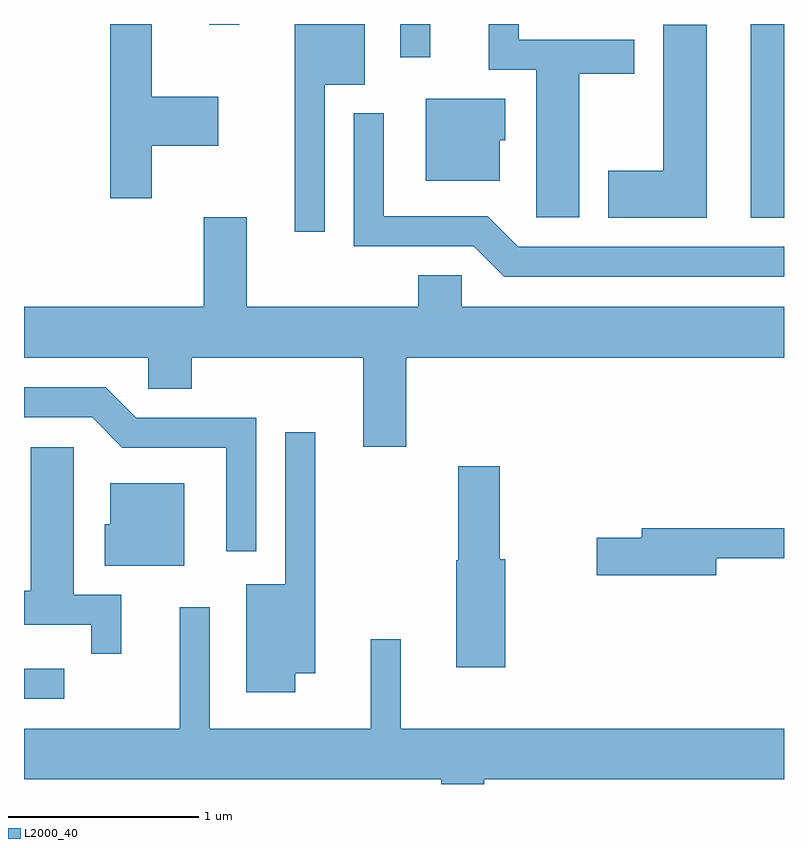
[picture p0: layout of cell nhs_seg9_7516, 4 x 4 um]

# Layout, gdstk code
import gdstk
lib = gdstk.Library(unit=1e-6, precision=1e-09)
def R(c, l, rs):  # rectangles x0, y0, x1, y1
    for r in rs: c.add(gdstk.rectangle(r[:2], r[2:], *l))
def P(c, l, *ps):  # polygons
    for p in ps: c.add(gdstk.Polygon(p, *l))
L2000_40 = (2000, 40)

nhs_seg9_7516 = lib.new_cell('nhs_seg9_7516')
R(nhs_seg9_7516, L2000_40, [(407.611,2018.881,407.823,2019.039), (411.436,2021.411,411.611,2022.432), (409.591,2022.258,409.749,2022.432), (408.586,2022.428,408.744,2022.432)])
P(nhs_seg9_7516, L2000_40, [(409.194,2022.111),(409.404,2022.111),(409.404,2022.432),(409.036,2022.432),(409.036,2021.338),(409.194,2021.338)],
  [(410.534,2022.171),(410.824,2022.171),(410.824,2022.349),(410.214,2022.349),(410.214,2022.432),(410.056,2022.432),(410.056,2022.191),(410.306,2022.191),(410.306,2021.416),(410.534,2021.416)],
  [(408.284,2021.791),(408.634,2021.791),(408.634,2022.049),(408.284,2022.049),(408.284,2022.432),(408.066,2022.432),(408.066,2021.516),(408.284,2021.516)],
  [(411.204,2022.429),(410.976,2022.429),(410.976,2021.659),(410.686,2021.659),(410.686,2021.411),(411.204,2021.411)],
  [(410.114,2021.821),(410.144,2021.821),(410.144,2022.039),(409.726,2022.039),(409.726,2021.606),(410.114,2021.606)],
  [(411.611,2021.259),(410.212,2021.259),(410.052,2021.419),(409.504,2021.419),(409.504,2021.963),(409.346,2021.963),(409.346,2021.261),(409.979,2021.261),(410.139,2021.101),(411.611,2021.101)],
  [(409.624,2020.676),(411.611,2020.676),(411.611,2020.944),(409.914,2020.944),(409.914,2021.109),(409.686,2021.109),(409.686,2020.944),(408.784,2020.944),(408.784,2021.414),(408.556,2021.414),(408.556,2020.944),(407.611,2020.944),(407.611,2020.676),(408.266,2020.676),(408.266,2020.511),(408.494,2020.511),(408.494,2020.676),(409.396,2020.676),(409.396,2020.206),(409.624,2020.206)],
  [(408.834,2020.359),(408.202,2020.359),(408.042,2020.519),(407.611,2020.519),(407.611,2020.361),(407.969,2020.361),(408.129,2020.201),(408.676,2020.201),(408.676,2019.658),(408.834,2019.658)],
  [(409.039,2019.016),(409.144,2019.016),(409.144,2020.283),(408.986,2020.283),(408.986,2019.484),(408.781,2019.484),(408.781,2018.916),(409.039,2018.916)],
  [(408.124,2019.429),(407.874,2019.429),(407.874,2020.204),(407.646,2020.204),(407.646,2019.449),(407.611,2019.449),(407.611,2019.271),(407.966,2019.271),(407.966,2019.118),(408.124,2019.118)],
  [(410.144,2019.614),(410.114,2019.614),(410.114,2020.104),(409.896,2020.104),(409.896,2019.61),(409.886,2019.61),(409.886,2019.046),(410.144,2019.046)],
  [(408.454,2020.014),(408.066,2020.014),(408.066,2019.799),(408.036,2019.799),(408.036,2019.581),(408.454,2019.581)],
  [(411.254,2019.621),(411.611,2019.621),(411.611,2019.779),(410.861,2019.779),(410.861,2019.729),(410.626,2019.729),(410.626,2019.531),(411.254,2019.531)],
  [(410.034,2018.456),(411.611,2018.456),(411.611,2018.724),(409.594,2018.724),(409.594,2019.193),(409.436,2019.193),(409.436,2018.724),(408.589,2018.724),(408.589,2019.363),(408.431,2019.363),(408.431,2018.724),(407.611,2018.724),(407.611,2018.456),(409.806,2018.456),(409.806,2018.432),(410.034,2018.432)])

lib.write_gds('nhs_seg9_7516.gds')
